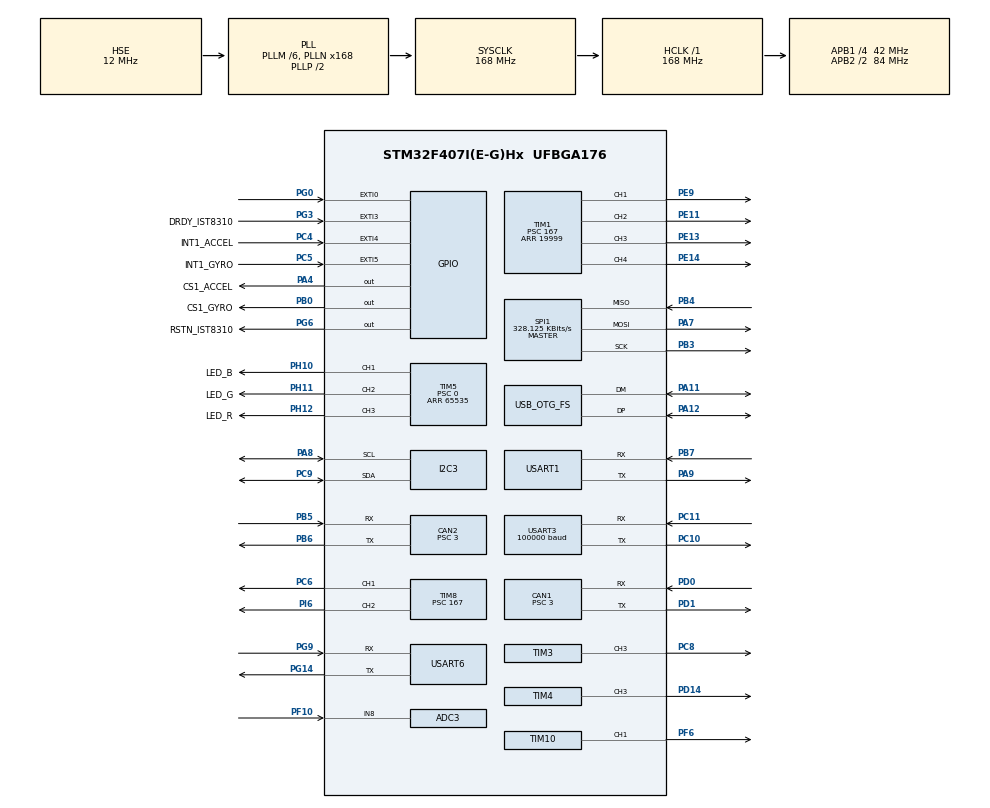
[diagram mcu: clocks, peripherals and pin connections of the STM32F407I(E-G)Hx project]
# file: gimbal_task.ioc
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ADC1.Channel-0\#ChannelRegularConversion=ADC_CHANNEL_TEMPSENSOR
ADC1.NbrOfConversionFlag=1
ADC1.Rank-0\#ChannelRegularConversion=1
ADC1.SamplingTime-0\#ChannelRegularConversion=ADC_SAMPLETIME_3CYCLES
ADC1.master=1
ADC3.Channel-0\#ChannelRegularConversion=ADC_CHANNEL_8
ADC3.NbrOfConversionFlag=1
ADC3.Rank-0\#ChannelRegularConversion=1
ADC3.SamplingTime-0\#ChannelRegularConversion=ADC_SAMPLETIME_3CYCLES
CAN1.BS1=CAN_BS1_10TQ
CAN1.BS2=CAN_BS2_3TQ
CAN1.CalculateBaudRate=1000000
CAN1.CalculateTimeBit=1000
CAN1.CalculateTimeQuantum=71.42857142857143
CAN1.Prescaler=3
CAN2.BS1=CAN_BS1_10TQ
CAN2.BS2=CAN_BS2_3TQ
CAN2.CalculateBaudRate=1000000
CAN2.CalculateTimeBit=1000
CAN2.CalculateTimeQuantum=71.42857142857143
CAN2.Prescaler=3
Dma.Request0=SPI1_RX
Dma.Request1=SPI1_TX
Dma.Request2=USART3_RX
Dma.Request3=USART6_RX
Dma.Request4=USART1_RX
Dma.SPI1_RX.0.Direction=DMA_PERIPH_TO_MEMORY
Dma.SPI1_RX.0.FIFOMode=DMA_FIFOMODE_DISABLE
Dma.SPI1_RX.0.Instance=DMA2_Stream2
Dma.SPI1_RX.0.MemDataAlignment=DMA_MDATAALIGN_BYTE
Dma.SPI1_RX.0.MemInc=DMA_MINC_ENABLE
Dma.SPI1_RX.0.Mode=DMA_NORMAL
Dma.SPI1_RX.0.PeriphDataAlignment=DMA_PDATAALIGN_BYTE
Dma.SPI1_RX.0.PeriphInc=DMA_PINC_DISABLE
Dma.SPI1_RX.0.Priority=DMA_PRIORITY_HIGH
Dma.SPI1_TX.1.Direction=DMA_MEMORY_TO_PERIPH
Dma.SPI1_TX.1.FIFOMode=DMA_FIFOMODE_DISABLE
Dma.SPI1_TX.1.Instance=DMA2_Stream3
Dma.SPI1_TX.1.MemDataAlignment=DMA_MDATAALIGN_BYTE
Dma.SPI1_TX.1.MemInc=DMA_MINC_ENABLE
Dma.SPI1_TX.1.Mode=DMA_NORMAL
Dma.SPI1_TX.1.PeriphDataAlignment=DMA_PDATAALIGN_BYTE
Dma.SPI1_TX.1.PeriphInc=DMA_PINC_DISABLE
Dma.SPI1_TX.1.Priority=DMA_PRIORITY_HIGH
Dma.USART1_RX.4.Direction=DMA_PERIPH_TO_MEMORY
Dma.USART1_RX.4.FIFOMode=DMA_FIFOMODE_DISABLE
Dma.USART1_RX.4.Instance=DMA2_Stream5
Dma.USART1_RX.4.MemDataAlignment=DMA_MDATAALIGN_BYTE
Dma.USART1_RX.4.MemInc=DMA_MINC_ENABLE
Dma.USART1_RX.4.Mode=DMA_NORMAL
Dma.USART1_RX.4.PeriphDataAlignment=DMA_PDATAALIGN_BYTE
Dma.USART1_RX.4.PeriphInc=DMA_PINC_DISABLE
Dma.USART1_RX.4.Priority=DMA_PRIORITY_HIGH
Dma.USART3_RX.2.Direction=DMA_PERIPH_TO_MEMORY
Dma.USART3_RX.2.FIFOMode=DMA_FIFOMODE_DISABLE
Dma.USART3_RX.2.Instance=DMA1_Stream1
Dma.USART3_RX.2.MemDataAlignment=DMA_MDATAALIGN_BYTE
Dma.USART3_RX.2.MemInc=DMA_MINC_ENABLE
Dma.USART3_RX.2.Mode=DMA_NORMAL
Dma.USART3_RX.2.PeriphDataAlignment=DMA_PDATAALIGN_BYTE
Dma.USART3_RX.2.PeriphInc=DMA_PINC_DISABLE
Dma.USART3_RX.2.Priority=DMA_PRIORITY_HIGH
Dma.USART6_RX.3.Direction=DMA_PERIPH_TO_MEMORY
Dma.USART6_RX.3.FIFOMode=DMA_FIFOMODE_DISABLE
Dma.USART6_RX.3.Instance=DMA2_Stream1
Dma.USART6_RX.3.MemDataAlignment=DMA_MDATAALIGN_BYTE
Dma.USART6_RX.3.MemInc=DMA_MINC_ENABLE
Dma.USART6_RX.3.Mode=DMA_NORMAL
Dma.USART6_RX.3.PeriphDataAlignment=DMA_PDATAALIGN_BYTE
Dma.USART6_RX.3.PeriphInc=DMA_PINC_DISABLE
Dma.USART6_RX.3.Priority=DMA_PRIORITY_LOW
FREERTOS.INCLUDE_eTaskGetState=1
FREERTOS.INCLUDE_pcTaskGetTaskName=1
FREERTOS.INCLUDE_uxTaskGetStackHighWaterMark=1
FREERTOS.INCLUDE_vTaskCleanUpResources=1
FREERTOS.INCLUDE_vTaskDelayUntil=1
FREERTOS.INCLUDE_xEventGroupSetBitFromISR=1
FREERTOS.INCLUDE_xQueueGetMutexHolder=1
FREERTOS.INCLUDE_xSemaphoreGetMutexHolder=1
FREERTOS.INCLUDE_xTaskAbortDelay=1
FREERTOS.INCLUDE_xTaskGetCurrentTaskHandle=1
FREERTOS.INCLUDE_xTaskGetHandle=1
FREERTOS.INCLUDE_xTimerPendFunctionCall=1
FREERTOS.Tasks01=test,24,128,test_task,As weak,NULL,Dynamic,NULL,NULL
FREERTOS.configTOTAL_HEAP_SIZE=24576
Mcu.Family=STM32F4
Mcu.Name=STM32F407I(E-G)Hx
Mcu.Package=UFBGA176
NVIC.CAN1_RX0_IRQn=true\:6\:0\:true\:false\:true\:true\:true\:true\:true
NVIC.CAN2_RX0_IRQn=true\:6\:0\:true\:false\:true\:true\:true\:true\:true
NVIC.DMA1_Stream1_IRQn=true\:5\:0\:false\:false\:true\:true\:false\:true\:true
NVIC.DMA2_Stream1_IRQn=true\:5\:0\:false\:false\:true\:true\:false\:true\:true
NVIC.DMA2_Stream2_IRQn=true\:5\:0\:false\:false\:true\:false\:false\:true\:true
NVIC.DMA2_Stream3_IRQn=true\:5\:0\:false\:false\:true\:true\:false\:true\:true
NVIC.DMA2_Stream5_IRQn=true\:5\:0\:false\:false\:true\:true\:false\:true\:true
NVIC.EXTI0_IRQn=true\:6\:0\:true\:false\:true\:true\:true\:true\:true
NVIC.EXTI3_IRQn=true\:5\:0\:false\:false\:true\:true\:true\:true\:true
NVIC.EXTI4_IRQn=true\:5\:0\:false\:false\:true\:true\:true\:true\:true
NVIC.EXTI9_5_IRQn=true\:5\:0\:false\:false\:true\:true\:true\:true\:true
NVIC.OTG_FS_IRQn=true\:5\:0\:false\:false\:true\:true\:false\:true\:true
NVIC.PriorityGroup=NVIC_PRIORITYGROUP_4
NVIC.TIM2_IRQn=true\:15\:0\:false\:false\:true\:false\:false\:true\:true
NVIC.TimeBase=TIM2_IRQn
NVIC.TimeBaseIP=TIM2
NVIC.USART1_IRQn=true\:2\:0\:true\:false\:true\:false\:true\:true\:true
NVIC.USART3_IRQn=true\:4\:0\:true\:false\:true\:false\:true\:true\:true
PA11.Mode=Device_Only
PA11.Signal=USB_OTG_FS_DM
PA12.Mode=Device_Only
PA12.Signal=USB_OTG_FS_DP
PA13.Mode=Serial_Wire
PA13.Signal=SYS_JTMS-SWDIO
PA14.Mode=Serial_Wire
PA14.Signal=SYS_JTCK-SWCLK
PA4.GPIO_Label=CS1_ACCEL
PA4.GPIO_PuPd=GPIO_PULLUP
PA4.GPIO_Speed=GPIO_SPEED_FREQ_HIGH
PA4.PinState=GPIO_PIN_SET
PA4.Signal=GPIO_Output
PA7.GPIO_PuPd=GPIO_PULLUP
PA7.Mode=Full_Duplex_Master
PA7.Signal=SPI1_MOSI
PA8.GPIO_Pu=GPIO_PULLUP
PA8.Mode=I2C
PA8.Signal=I2C3_SCL
PA9.Mode=Asynchronous
PA9.Signal=USART1_TX
PB0.GPIO_Label=CS1_GYRO
PB0.GPIO_PuPd=GPIO_PULLUP
PB0.GPIO_Speed=GPIO_SPEED_FREQ_HIGH
PB0.PinState=GPIO_PIN_SET
PB0.Signal=GPIO_Output
PB3.GPIO_PuPd=GPIO_PULLUP
PB3.Mode=Full_Duplex_Master
PB3.Signal=SPI1_SCK
PB4.GPIO_PuPd=GPIO_PULLUP
PB4.Mode=Full_Duplex_Master
PB4.Signal=SPI1_MISO
PB5.Mode=CAN_Activate
PB5.Signal=CAN2_RX
PB6.Mode=CAN_Activate
PB6.Signal=CAN2_TX
PB7.Mode=Asynchronous
PB7.Signal=USART1_RX
PC10.Mode=Asynchronous
PC10.Signal=USART3_TX
PC11.Mode=Asynchronous
PC11.Signal=USART3_RX
PC4.GPIO_Label=INT1_ACCEL
PC4.GPIO_ModeDefaultEXTI=GPIO_MODE_IT_FALLING
PC4.GPIO_PuPd=GPIO_PULLUP
PC4.Signal=GPXTI4
PC5.GPIO_Label=INT1_GYRO
PC5.GPIO_ModeDefaultEXTI=GPIO_MODE_IT_FALLING
PC5.GPIO_PuPd=GPIO_PULLUP
PC5.Signal=GPXTI5
PC6.GPIO_PuPd=GPIO_PULLUP
PC6.GPIO_Speed=GPIO_SPEED_FREQ_HIGH
PC6.Signal=S_TIM8_CH1
PC8.GPIO_PuPd=GPIO_PULLUP
PC8.GPIO_Speed=GPIO_SPEED_FREQ_HIGH
PC8.Signal=S_TIM3_CH3
PC9.GPIO_Pu=GPIO_PULLUP
PC9.Mode=I2C
PC9.Signal=I2C3_SDA
PD0.Mode=CAN_Activate
PD0.Signal=CAN1_RX
PD1.Mode=CAN_Activate
PD1.Signal=CAN1_TX
PD14.GPIO_Speed=GPIO_SPEED_FREQ_HIGH
PD14.Signal=S_TIM4_CH3
PE11.GPIO_PuPd=GPIO_PULLUP
PE11.GPIO_Speed=GPIO_SPEED_FREQ_HIGH
PE11.Signal=S_TIM1_CH2
PE13.GPIO_PuPd=GPIO_PULLUP
PE13.GPIO_Speed=GPIO_SPEED_FREQ_HIGH
PE13.Signal=S_TIM1_CH3
PE14.GPIO_PuPd=GPIO_PULLUP
PE14.GPIO_Speed=GPIO_SPEED_FREQ_HIGH
PE14.Signal=S_TIM1_CH4
PE9.GPIO_PuPd=GPIO_PULLUP
PE9.GPIO_Speed=GPIO_SPEED_FREQ_HIGH
PE9.Signal=S_TIM1_CH1
PF10.Mode=IN8
PF10.Signal=ADC3_IN8
PF6.GPIO_PuPd=GPIO_PULLUP
PF6.GPIO_Speed=GPIO_SPEED_FREQ_HIGH
PF6.Signal=S_TIM10_CH1
PG0.GPIO_ModeDefaultEXTI=GPIO_MODE_IT_FALLING
PG0.GPIO_PuPd=GPIO_PULLUP
PG0.Signal=GPXTI0
PG14.Mode=Asynchronous
PG14.Signal=USART6_TX
PG3.GPIO_Label=DRDY_IST8310
PG3.GPIO_ModeDefaultEXTI=GPIO_MODE_IT_FALLING
PG3.GPIO_PuPd=GPIO_PULLUP
PG3.Signal=GPXTI3
PG6.GPIO_Label=RSTN_IST8310
PG6.GPIO_PuPd=GPIO_PULLUP
PG6.GPIO_Speed=GPIO_SPEED_FREQ_HIGH
PG6.PinState=GPIO_PIN_SET
PG6.Signal=GPIO_Output
PG9.Mode=Asynchronous
PG9.Signal=USART6_RX
PH0-OSC_IN.Mode=HSE-External-Oscillator
PH0-OSC_IN.Signal=RCC_OSC_IN
PH1-OSC_OUT.Mode=HSE-External-Oscillator
PH1-OSC_OUT.Signal=RCC_OSC_OUT
PH10.GPIO_Label=LED_B
PH10.GPIO_PuPd=GPIO_PULLUP
PH10.GPIO_Speed=GPIO_SPEED_FREQ_HIGH
PH10.Signal=S_TIM5_CH1
PH11.GPIO_Label=LED_G
PH11.GPIO_PuPd=GPIO_PULLUP
PH11.GPIO_Speed=GPIO_SPEED_FREQ_HIGH
PH11.Signal=S_TIM5_CH2
PH12.GPIO_Label=LED_R
PH12.GPIO_PuPd=GPIO_PULLUP
PH12.GPIO_Speed=GPIO_SPEED_FREQ_HIGH
PH12.Signal=S_TIM5_CH3
PI6.GPIO_PuPd=GPIO_PULLUP
PI6.GPIO_Speed=GPIO_SPEED_FREQ_HIGH
PI6.Signal=S_TIM8_CH2
ProjectManager.HeapSize=0x2000
ProjectManager.StackSize=0x2000
ProjectManager.TargetToolchain=MDK-ARM V5.32
RCC.48MHZClocksFreq_Value=48000000
RCC.AHBFreq_Value=168000000
RCC.APB1CLKDivider=RCC_HCLK_DIV4
RCC.APB1Freq_Value=42000000
RCC.APB1TimFreq_Value=84000000
RCC.APB2CLKDivider=RCC_HCLK_DIV2
RCC.APB2Freq_Value=84000000
RCC.APB2TimFreq_Value=168000000
RCC.CortexFreq_Value=168000000
RCC.HCLKFreq_Value=168000000
RCC.HSE_VALUE=12000000
RCC.HSI_VALUE=16000000
RCC.LSE_VALUE=32768
RCC.PLLM=6
RCC.PLLN=168
RCC.PLLQ=7
RCC.RCC_RTC_Clock_SourceVirtual=RCC_RTCCLKSOURCE_HSE_DIV30
RCC.RCC_RTC_Clock_Source_FROM_HSE=RCC_RTCCLKSOURCE_HSE_DIV30
RCC.SYSCLKFreq_VALUE=168000000
RCC.SYSCLKSource=RCC_SYSCLKSOURCE_PLLCLK
RCC.VCOOutputFreq_Value=336000000
RTC.AsynchPrediv=124
RTC.SynchPrediv=3199
SH.S_TIM10_CH1.0=TIM10_CH1,PWM Generation1 CH1
SH.S_TIM1_CH1.0=TIM1_CH1,PWM Generation1 CH1
SH.S_TIM1_CH2.0=TIM1_CH2,PWM Generation2 CH2
SH.S_TIM1_CH3.0=TIM1_CH3,PWM Generation3 CH3
SH.S_TIM1_CH4.0=TIM1_CH4,PWM Generation4 CH4
SH.S_TIM3_CH3.0=TIM3_CH3,PWM Generation3 CH3
SH.S_TIM4_CH3.0=TIM4_CH3,PWM Generation3 CH3
SH.S_TIM5_CH1.0=TIM5_CH1,PWM Generation1 CH1
SH.S_TIM5_CH2.0=TIM5_CH2,PWM Generation2 CH2
SH.S_TIM5_CH3.0=TIM5_CH3,PWM Generation3 CH3
SH.S_TIM8_CH1.0=TIM8_CH1,PWM Generation1 CH1
SH.S_TIM8_CH2.0=TIM8_CH2,PWM Generation2 CH2
SPI1.BaudRatePrescaler=SPI_BAUDRATEPRESCALER_256
SPI1.CLKPhase=SPI_PHASE_2EDGE
SPI1.CLKPolarity=SPI_POLARITY_HIGH
SPI1.CalculateBaudRate=328.125 KBits/s
SPI1.Direction=SPI_DIRECTION_2LINES
SPI1.Mode=SPI_MODE_MASTER
SPI1.VirtualType=VM_MASTER
TIM1.Channel-PWM\ Generation1\ CH1=TIM_CHANNEL_1
TIM1.Channel-PWM\ Generation2\ CH2=TIM_CHANNEL_2
TIM1.Channel-PWM\ Generation3\ CH3=TIM_CHANNEL_3
TIM1.Channel-PWM\ Generation4\ CH4=TIM_CHANNEL_4
TIM1.Period=19999
TIM1.Prescaler=167
TIM1.Pulse-PWM\ Generation1\ CH1=1000
TIM1.Pulse-PWM\ Generation2\ CH2=1000
TIM1.Pulse-PWM\ Generation3\ CH3=1000
TIM1.Pulse-PWM\ Generation4\ CH4=1000
TIM10.Channel=TIM_CHANNEL_1
TIM10.Period=4999
TIM3.Channel-PWM\ Generation3\ CH3=TIM_CHANNEL_3
TIM3.Period=8399
TIM4.Channel-PWM\ Generation3\ CH3=TIM_CHANNEL_3
TIM4.Period=65535
TIM4.Prescaler=167
TIM4.Pulse-PWM\ Generation3\ CH3=1000
TIM5.Channel-PWM\ Generation1\ CH1=TIM_CHANNEL_1
TIM5.Channel-PWM\ Generation2\ CH2=TIM_CHANNEL_2
TIM5.Channel-PWM\ Generation3\ CH3=TIM_CHANNEL_3
TIM5.Period=65535
TIM5.Prescaler=0
TIM8.Channel-PWM\ Generation1\ CH1=TIM_CHANNEL_1
TIM8.Channel-PWM\ Generation2\ CH2=TIM_CHANNEL_2
TIM8.Period=19999
TIM8.Prescaler=167
TIM8.Pulse-PWM\ Generation1\ CH1=1000
TIM8.Pulse-PWM\ Generation2\ CH2=1000
USART1.VirtualMode=VM_ASYNC
USART3.BaudRate=100000
USART3.Parity=PARITY_EVEN
USART3.VirtualMode=VM_ASYNC
USART6.VirtualMode=VM_ASYNC
USB_DEVICE.CLASS_NAME_FS=CDC
USB_DEVICE.VirtualMode-CDC_FS=Cdc
USB_DEVICE.VirtualModeFS=Cdc_FS
USB_OTG_FS.VirtualMode=Device_Only
VP_ADC1_TempSens_Input.Mode=IN-TempSens
VP_ADC1_Vref_Input.Mode=IN-Vrefint
VP_FREERTOS_VS_CMSIS_V1.Mode=CMSIS_V1
VP_IWDG_VS_IWDG.Mode=IWDG_Activate
VP_RTC_VS_RTC_Activate.Mode=RTC_Enabled
VP_SYS_VS_tim2.Mode=TIM2
VP_TIM10_VS_ClockSourceINT.Mode=Enable_Timer
VP_TIM1_VS_ClockSourceINT.Mode=Internal
VP_TIM3_VS_ClockSourceINT.Mode=Internal
VP_TIM4_VS_ClockSourceINT.Mode=Internal
VP_TIM5_VS_ClockSourceINT.Mode=Internal
VP_TIM8_VS_ClockSourceINT.Mode=Internal
VP_USB_DEVICE_VS_USB_DEVICE_CDC_FS.Mode=CDC_FS
board=custom

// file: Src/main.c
/* USER CODE BEGIN Header */
/**
  ******************************************************************************
  * @file           : main.c
  * @brief          : Main program body
  ******************************************************************************
  * @attention
  *
  * <h2><center>&copy; Copyright (c) 2019 STMicroelectronics.
  * All rights reserved.</center></h2>
  *
  * This software component is licensed by ST under Ultimate Liberty license
  * SLA0044, the "License"; You may not use this file except in compliance with
  * the License. You may obtain a copy of the License at:
  *                             www.st.com/SLA0044
  *
  ******************************************************************************
  */
/* USER CODE END Header */
#include "main.h"
#include "cmsis_os.h"
#include "adc.h"
#include "can.h"
#include "dma.h"
#include "i2c.h"
#include "iwdg.h"
#include "rtc.h"
#include "spi.h"
#include "tim.h"
#include "usart.h"
#include "usb_device.h"
#include "gpio.h"
#include "bsp_dwt.h"
/* USER CODE BEGIN Includes */
// #include "bsp_can.h"
// #include "bsp_delay.h"
// #include "remote_control.h"
// #include "QuaternionEKF.h"
// #include "vision.h"
// #include "gimbal_task.h"
// #include "INS_task.h"
// #include "led_flow_task.h"
/* USER CODE END Includes */

void SystemClock_Config(void);
void MX_FREERTOS_Init(void);

int main(void)
{

  /* MCU Configuration--------------------------------------------------------*/

  /* Reset of all peripherals, Initializes the Flash interface and the Systick. */

       HAL_Init();

  /* Configure the system clock */
  SystemClock_Config();

  /* Initialize all configured peripherals */
  MX_GPIO_Init();
  MX_DMA_Init();
  MX_CAN1_Init();
  MX_CAN2_Init();
  MX_SPI1_Init();
  MX_TIM4_Init();
  MX_TIM5_Init();
  MX_TIM8_Init();
  MX_I2C3_Init();
  MX_RTC_Init();
  MX_TIM3_Init();
  MX_USART3_UART_Init();
  MX_TIM1_Init();
  MX_TIM10_Init();
  MX_ADC1_Init();
  MX_ADC3_Init();
  MX_USART6_UART_Init();
  MX_USART1_UART_Init();
  //MX_IWDG_Init();
  /* USER CODE BEGIN 2 */
	DWT_Init(168);
  MX_USB_DEVICE_Init();
  can_filter_init();
  delay_init();
  //  remote_control_init();
 	  //visionInit();
  /* USER CODE END 2 */

  /* Call init function for freertos objects (in cmsis_os2.c) */
  MX_FREERTOS_Init();

  /* Start scheduler */
  osKernelStart();

  /* We should never get here as control is now taken by the scheduler */

  /* Infinite loop */
  while (1)
  {

  }
}

void SystemClock_Config(void)
{
  RCC_OscInitTypeDef RCC_OscInitStruct = {0};
  RCC_ClkInitTypeDef RCC_ClkInitStruct = {0};

  /** Configure the main internal regulator output voltage
  */
  __HAL_RCC_PWR_CLK_ENABLE();
  __HAL_PWR_VOLTAGESCALING_CONFIG(PWR_REGULATOR_VOLTAGE_SCALE1);

  /** Initializes the RCC Oscillators according to the specified parameters
  * in the RCC_OscInitTypeDef structure.
  */
  RCC_OscInitStruct.OscillatorType = RCC_OSCILLATORTYPE_LSI|RCC_OSCILLATORTYPE_HSE;
  RCC_OscInitStruct.HSEState = RCC_HSE_ON;
  RCC_OscInitStruct.LSIState = RCC_LSI_ON;
  RCC_OscInitStruct.PLL.PLLState = RCC_PLL_ON;
  RCC_OscInitStruct.PLL.PLLSource = RCC_PLLSOURCE_HSE;
  RCC_OscInitStruct.PLL.PLLM = 6;
  RCC_OscInitStruct.PLL.PLLN = 168;
  RCC_OscInitStruct.PLL.PLLP = RCC_PLLP_DIV2;
  RCC_OscInitStruct.PLL.PLLQ = 7;
  if (HAL_RCC_OscConfig(&RCC_OscInitStruct) != HAL_OK)
  {
    Error_Handler();
  }

  /** Initializes the CPU, AHB and APB buses clocks
  */
  RCC_ClkInitStruct.ClockType = RCC_CLOCKTYPE_HCLK|RCC_CLOCKTYPE_SYSCLK
                              |RCC_CLOCKTYPE_PCLK1|RCC_CLOCKTYPE_PCLK2;
  RCC_ClkInitStruct.SYSCLKSource = RCC_SYSCLKSOURCE_PLLCLK;
  RCC_ClkInitStruct.AHBCLKDivider = RCC_SYSCLK_DIV1;
  RCC_ClkInitStruct.APB1CLKDivider = RCC_HCLK_DIV4;
  RCC_ClkInitStruct.APB2CLKDivider = RCC_HCLK_DIV2;

  if (HAL_RCC_ClockConfig(&RCC_ClkInitStruct, FLASH_LATENCY_5) != HAL_OK)
  {
    Error_Handler();
  }
}

void HAL_TIM_PeriodElapsedCallback(TIM_HandleTypeDef *htim)
{
  if (htim->Instance == TIM2) {
    HAL_IncTick();
  }
}

void Error_Handler(void)
{
}

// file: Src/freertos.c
/* USER CODE BEGIN Header */
/**
  ******************************************************************************
  * File Name          : freertos.c
  * Description        : Code for freertos applications
  ******************************************************************************
  * @attention
  *
  * <h2><center>&copy; Copyright (c) 2019 STMicroelectronics.
  * All rights reserved.</center></h2>
  *
  * This software component is licensed by ST under Ultimate Liberty license
  * SLA0044, the "License"; You may not use this file except in compliance with
  * the License. You may obtain a copy of the License at:
  *                             www.st.com/SLA0044
  *
  ******************************************************************************
  */
/* USER CODE END Header */

#include "FreeRTOS.h"
#include "task.h"
#include "main.h"
#include "cmsis_os.h"

/* USER CODE BEGIN Includes */

#include "gimbal_task.h"
#include "INS_task.h"
#include "led_flow_task.h"
#include "shoot_task.h"
#include "transmit_task.h"
#include "vision.h"
#include "bsp_can.h"
#include "vofa.h"
/* USER CODE END Includes */

/* USER CODE BEGIN PTD */

//osThreadId calibrate_tast_handle;
//osThreadId detect_handle;
osThreadId gimbalTaskHandle;
osThreadId imuTaskHandle;
osThreadId led_RGB_flow_handle;
osThreadId transmitTaskHandle;
osThreadId shootTaskHandle;
osThreadId visiontaskHandle;
//osThreadId transmit2TaskHandle;

xQueueHandle CAN1_data_Queue;
xQueueHandle CAN2_data_Queue1;
xQueueHandle CAN2_data_Queue2;
//xQueueHandle CAN2_data_Queue3;

/* USER CODE END PTD */

/* USER CODE BEGIN Variables */
osThreadId testHandle;
/* USER CODE END Variables */

void test_task(void const * argument);

extern void MX_USB_DEVICE_Init(void);
void MX_FREERTOS_Init(void); /* (MISRA C 2004 rule 8.1) */

/* GetIdleTaskMemory prototype (linked to static allocation support) */
void vApplicationGetIdleTaskMemory( StaticTask_t **ppxIdleTaskTCBBuffer, StackType_t **ppxIdleTaskStackBuffer, uint32_t *pulIdleTaskStackSize );

/* GetTimerTaskMemory prototype (linked to static allocation support) */
void vApplicationGetTimerTaskMemory( StaticTask_t **ppxTimerTaskTCBBuffer, StackType_t **ppxTimerTaskStackBuffer, uint32_t *pulTimerTaskStackSize );

/* USER CODE BEGIN GET_IDLE_TASK_MEMORY */
static StaticTask_t xIdleTaskTCBBuffer;
static StackType_t xIdleStack[configMINIMAL_STACK_SIZE];

void vApplicationGetIdleTaskMemory( StaticTask_t **ppxIdleTaskTCBBuffer, StackType_t **ppxIdleTaskStackBuffer, uint32_t *pulIdleTaskStackSize )
{
  *ppxIdleTaskTCBBuffer = &xIdleTaskTCBBuffer;
  *ppxIdleTaskStackBuffer = &xIdleStack[0];
  *pulIdleTaskStackSize = configMINIMAL_STACK_SIZE;
  /* place for user code */
}
/* USER CODE END GET_IDLE_TASK_MEMORY */

/* USER CODE BEGIN GET_TIMER_TASK_MEMORY */
static StaticTask_t xTimerTaskTCBBuffer;
static StackType_t xTimerStack[configTIMER_TASK_STACK_DEPTH];

void vApplicationGetTimerTaskMemory( StaticTask_t **ppxTimerTaskTCBBuffer, StackType_t **ppxTimerTaskStackBuffer, uint32_t *pulTimerTaskStackSize )
{
  *ppxTimerTaskTCBBuffer = &xTimerTaskTCBBuffer;
  *ppxTimerTaskStackBuffer = &xTimerStack[0];
  *pulTimerTaskStackSize = configTIMER_TASK_STACK_DEPTH;
  /* place for user code */
}
/* USER CODE END GET_TIMER_TASK_MEMORY */

void MX_FREERTOS_Init(void) {

  /* Create the thread(s) */
  /* definition and creation of test */
  osThreadDef(test, test_task, osPriorityNormal, 0, 128);
  testHandle = osThreadCreate(osThread(test), NULL);

  /* USER CODE BEGIN RTOS_THREADS */
  /* add threads, ... */

    osThreadDef(gimbalTask, gimbal_task, osPriorityNormal, 0, 512);
    gimbalTaskHandle = osThreadCreate(osThread(gimbalTask), NULL);

		osThreadDef(shootTask, shoot_task, osPriorityNormal, 0, 512);
    shootTaskHandle = osThreadCreate(osThread(shootTask), NULL);

    osThreadDef(imuTask, INS_task, osPriorityRealtime, 0, 1024);
    imuTaskHandle = osThreadCreate(osThread(imuTask), NULL);

	  osThreadDef(transmitTask, transmit_Task, osPriorityHigh, 0, 512);
    transmitTaskHandle = osThreadCreate(osThread(transmitTask), NULL);

    osThreadDef(led, led_RGB_flow_task, osPriorityNormal, 0, 256);
    led_RGB_flow_handle = osThreadCreate(osThread(led), NULL);

		osThreadDef(visionTask, vision_task, osPriorityNormal, 0, 256);
		visiontaskHandle = osThreadCreate(osThread(visionTask), NULL);

	  CAN1_data_Queue =  xQueueCreate(10,sizeof(CAN1_Data_t));
		CAN2_data_Queue1 = xQueueCreate(10,sizeof(CAN2_Data_t));
		CAN2_data_Queue2 = xQueueCreate(10,sizeof(CAN2_Data_t));

  //CAN2_data_Queue3 = xQueueCreate(10,sizeof(CAN2_Data_t));
  /* USER CODE END RTOS_THREADS */

}

__weak void test_task(void const * argument)
{
  /* init code for USB_DEVICE */
  for(;;)
  {
    osDelay(1);
  }
}
